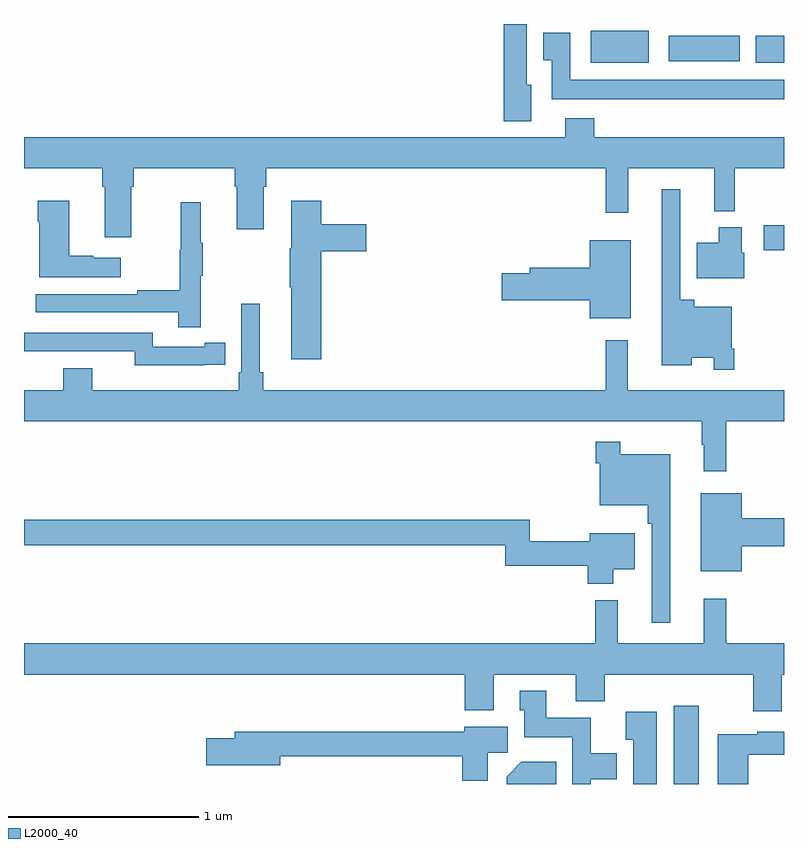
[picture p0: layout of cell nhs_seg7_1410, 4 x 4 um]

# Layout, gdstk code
import gdstk
lib = gdstk.Library(unit=1e-6, precision=1e-09)
def R(c, l, rs):  # rectangles x0, y0, x1, y1
    for r in rs: c.add(gdstk.rectangle(r[:2], r[2:], *l))
def P(c, l, *ps):  # polygons
    for p in ps: c.add(gdstk.Polygon(p, *l))
L2000_40 = (2000, 40)

nhs_seg7_1410 = lib.new_cell('nhs_seg7_1410')
R(nhs_seg7_1410, L2000_40, [(210.419,1040,210.55,1040.413), (210.894,1042.808,211,1042.942), (209.984,1043.795,210.289,1043.965), (210.851,1043.795,211,1043.938), (210.393,1043.804,210.766,1043.938)])
P(nhs_seg7_1410, L2000_40, [(209.671,1043.679),(209.647,1043.679),(209.647,1044),(209.525,1044),(209.525,1043.489),(209.671,1043.489)],
  [(211,1043.707),(209.874,1043.707),(209.874,1043.953),(209.732,1043.953),(209.732,1043.809),(209.777,1043.809),(209.777,1043.603),(211,1043.603)],
  [(207.565,1043.144),(207.578,1043.144),(207.578,1043.24),(208.109,1043.24),(208.109,1043.144),(208.121,1043.144),(208.121,1042.92),(208.261,1042.92),(208.261,1043.144),(208.274,1043.144),(208.274,1043.24),(210.061,1043.24),(210.061,1043.007),(210.179,1043.007),(210.179,1043.24),(210.632,1043.24),(210.632,1043.015),(210.742,1043.015),(210.742,1043.24),(211,1043.24),(211,1043.404),(210.002,1043.404),(210.002,1043.503),(209.849,1043.503),(209.849,1043.404),(207,1043.404),(207,1043.24),(207.413,1043.24),(207.413,1043.144),(207.425,1043.144),(207.425,1042.878),(207.565,1042.878)],
  [(210.739,1042.291),(210.726,1042.291),(210.726,1042.513),(210.527,1042.513),(210.527,1042.549),(210.453,1042.549),(210.453,1043.131),(210.356,1043.131),(210.356,1042.205),(210.514,1042.205),(210.514,1042.244),(210.63,1042.244),(210.63,1042.179),(210.739,1042.179)],
  [(208.565,1042.805),(208.801,1042.805),(208.801,1042.947),(208.565,1042.947),(208.565,1043.071),(208.406,1043.071),(208.406,1042.821),(208.399,1042.821),(208.399,1042.615),(208.406,1042.615),(208.406,1042.236),(208.565,1042.236)],
  [(207.508,1042.771),(207.365,1042.771),(207.365,1042.781),(207.238,1042.781),(207.238,1043.071),(207.073,1043.071),(207.073,1042.958),(207.08,1042.958),(207.08,1042.667),(207.508,1042.667)],
  [(207.929,1042.675),(207.94,1042.675),(207.94,1042.849),(207.929,1042.849),(207.929,1043.062),(207.826,1043.062),(207.826,1042.812),(207.819,1042.812),(207.819,1042.598),(207.595,1042.598),(207.595,1042.578),(207.063,1042.578),(207.063,1042.482),(207.811,1042.482),(207.811,1042.404),(207.929,1042.404)],
  [(210.79,1042.797),(210.778,1042.797),(210.778,1042.93),(210.656,1042.93),(210.656,1042.849),(210.542,1042.849),(210.542,1042.661),(210.79,1042.661)],
  [(210.193,1042.861),(209.978,1042.861),(209.978,1042.718),(209.663,1042.718),(209.663,1042.688),(209.514,1042.688),(209.514,1042.546),(209.978,1042.546),(209.978,1042.451),(210.193,1042.451)],
  [(210.695,1041.908),(211,1041.908),(211,1042.072),(210.178,1042.072),(210.178,1042.336),(210.061,1042.336),(210.061,1042.072),(208.259,1042.072),(208.259,1042.168),(208.24,1042.168),(208.24,1042.528),(208.143,1042.528),(208.143,1042.168),(208.13,1042.168),(208.13,1042.072),(207.358,1042.072),(207.358,1042.189),(207.206,1042.189),(207.206,1042.072),(207,1042.072),(207,1041.908),(210.567,1041.908),(210.567,1041.785),(210.578,1041.785),(210.578,1041.645),(210.695,1041.645)],
  [(207.95,1042.206),(208.058,1042.206),(208.058,1042.322),(207.95,1042.322),(207.95,1042.302),(207.678,1042.302),(207.678,1042.374),(207,1042.374),(207,1042.277),(207.122,1042.277),(207.122,1042.278),(207.582,1042.278),(207.582,1042.205),(207.95,1042.205)],
  [(210.4,1041.736),(210.139,1041.736),(210.139,1041.802),(210.01,1041.802),(210.01,1041.689),(210.03,1041.689),(210.03,1041.467),(210.283,1041.467),(210.283,1041.371),(210.303,1041.371),(210.303,1040.85),(210.4,1040.85)],
  [(210.778,1041.251),(211,1041.251),(211,1041.398),(210.778,1041.398),(210.778,1041.529),(210.563,1041.529),(210.563,1041.119),(210.778,1041.119)],
  [(210.1,1041.131),(210.214,1041.131),(210.214,1041.319),(209.978,1041.319),(209.978,1041.278),(209.662,1041.278),(209.662,1041.392),(207,1041.392),(207,1041.256),(209.533,1041.256),(209.533,1041.15),(209.966,1041.15),(209.966,1041.053),(210.1,1041.053)],
  [(210.987,1040.576),(211,1040.576),(211,1040.74),(210.695,1040.74),(210.695,1040.974),(210.578,1040.974),(210.578,1040.74),(210.125,1040.74),(210.125,1040.968),(210.007,1040.968),(210.007,1040.74),(207,1040.74),(207,1040.576),(209.321,1040.576),(209.321,1040.387),(209.473,1040.387),(209.473,1040.576),(209.903,1040.576),(209.903,1040.435),(210.056,1040.435),(210.056,1040.576),(210.839,1040.576),(210.839,1040.382),(210.987,1040.382)],
  [(209.982,1040.024),(210.121,1040.024),(210.121,1040.163),(209.984,1040.163),(209.984,1040.35),(209.749,1040.35),(209.749,1040.491),(209.609,1040.491),(209.609,1040.388),(209.633,1040.388),(209.633,1040.246),(209.886,1040.246),(209.886,1040),(209.982,1040)],
  [(210.331,1040.38),(210.167,1040.38),(210.167,1040.234),(210.206,1040.234),(210.206,1040),(210.331,1040)],
  [(209.44,1040.164),(209.545,1040.164),(209.545,1040.302),(209.318,1040.302),(209.318,1040.275),(208.109,1040.275),(208.109,1040.241),(207.96,1040.241),(207.96,1040.099),(208.348,1040.099),(208.348,1040.146),(209.306,1040.146),(209.306,1040.016),(209.44,1040.016)],
  [(210.812,1040.153),(211,1040.153),(211,1040.275),(210.858,1040.275),(210.858,1040.263),(210.65,1040.263),(210.65,1040),(210.812,1040)],
  [(209.801,1040.116),(209.618,1040.116),(209.54,1040.038),(209.54,1040),(209.801,1040)])

lib.write_gds('nhs_seg7_1410.gds')
